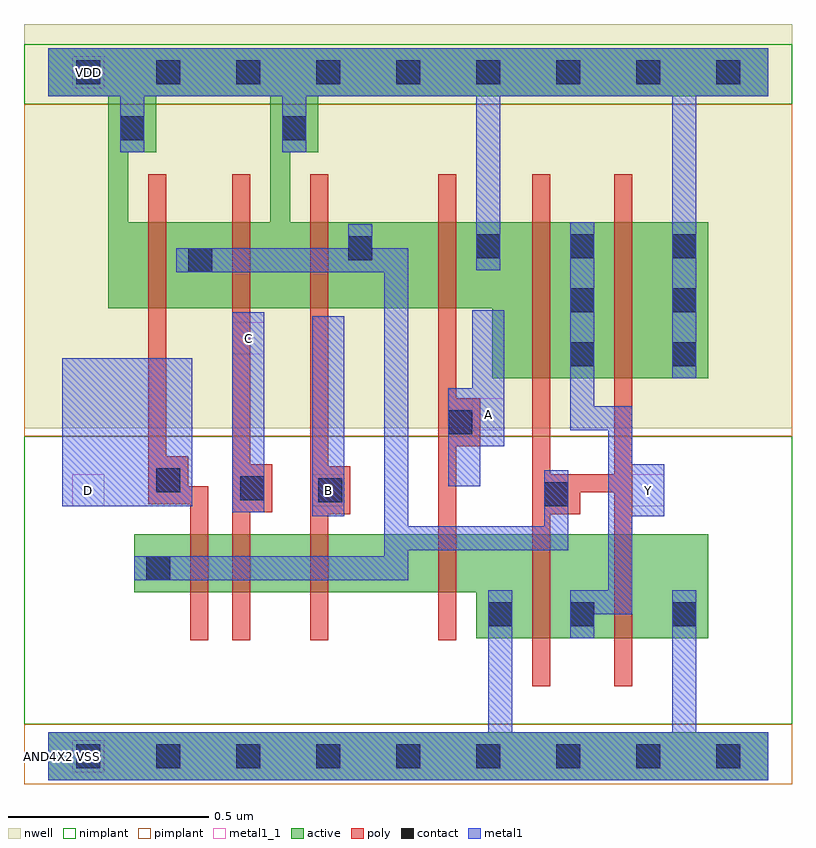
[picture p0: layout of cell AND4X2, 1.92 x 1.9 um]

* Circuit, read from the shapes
.subckt AND4X2 A B C D VDD VSS Y
M1 n1 D n2 VSS nfet w=0.145u l=0.045u
M2 n3 C n1 VSS nfet w=0.145u l=0.045u
M3 n4 B n3 VSS nfet w=0.145u l=0.045u
M4 VSS A n4 VSS nfet w=0.145u l=0.045u
M5 Y n2 VSS VSS nfet w=0.26u l=0.045u m=2
M6 n2 D VDD VDD pfet w=0.215u l=0.045u
M7 VDD C n2 VDD pfet w=0.215u l=0.045u
M8 n2 B VDD VDD pfet w=0.215u l=0.045u
M9 VDD A n2 VDD pfet w=0.215u l=0.045u
M10 Y n2 VDD VDD pfet w=0.39u l=0.045u m=2
.ends

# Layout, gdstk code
import gdstk
lib = gdstk.Library(unit=1e-6, precision=5e-10)
def R(c, l, rs):  # rectangles x0, y0, x1, y1
    for r in rs: c.add(gdstk.rectangle(r[:2], r[2:], *l))
def A(c, l, x, y, w, h, nx, ny, dx, dy):  # array of equal rectangles
    R(c, l, [(x+i*dx, y+j*dy, x+i*dx+w, y+j*dy+h) for i in range(nx) for j in range(ny)])
def P(c, l, *ps):  # polygons
    for p in ps: c.add(gdstk.Polygon(p, *l))
active = (1, 0)
nwell = (2, 0)
poly = (3, 0)
nimplant = (4, 0)
pimplant = (5, 0)
contact = (6, 0)
metal1 = (7, 0)
metal1_1 = (7, 1)

and4x2 = lib.new_cell('AND4X2')
R(and4x2, active, [(0,-0.06,1.8,0.06)])
P(and4x2, active, [(0,1.77),(1.8,1.77),(1.8,1.65),(0.675,1.65),(0.675,1.51),(0.605,1.51),(0.605,1.335),(1.65,1.335),(1.65,0.945),(1.11,0.945),(1.11,1.12),(0.15,1.12),(0.15,1.65),(0.27,1.65),(0.27,1.51),(0.2,1.51),(0.2,1.335),(0.555,1.335),(0.555,1.65),(0,1.65)],
  [(0.215,0.555),(1.65,0.555),(1.65,0.295),(1.07,0.295),(1.07,0.41),(0.215,0.41)])
R(and4x2, nwell, [(-0.06,0.82,1.86,1.83)])
P(and4x2, poly, [(0.25,1.455),(0.295,1.455),(0.295,0.75),(0.35,0.75),(0.35,0.675),(0.4,0.675),(0.4,0.29),(0.355,0.29),(0.355,0.63),(0.25,0.63)],
  [(0.46,1.455),(0.505,1.455),(0.505,0.73),(0.56,0.73),(0.56,0.61),(0.505,0.61),(0.505,0.29),(0.46,0.29)],
  [(0.655,1.455),(0.7,1.455),(0.7,0.725),(0.755,0.725),(0.755,0.605),(0.7,0.605),(0.7,0.29),(0.655,0.29)],
  [(0.975,1.455),(1.02,1.455),(1.02,0.895),(1.08,0.895),(1.08,0.775),(1.02,0.775),(1.02,0.29),(0.975,0.29)],
  [(1.21,1.455),(1.255,1.455),(1.255,0.705),(1.415,0.705),(1.415,1.455),(1.46,1.455),(1.46,0.175),(1.415,0.175),(1.415,0.66),(1.33,0.66),(1.33,0.605),(1.255,0.605),(1.255,0.175),(1.21,0.175)])
R(and4x2, nimplant, [(-0.06,0.08,1.86,0.8), (-0.06,1.63,1.86,1.78)])
R(and4x2, pimplant, [(-0.06,-0.07,1.86,0.08), (-0.06,0.8,1.86,1.63)])
A(and4x2, contact, 0.07, -0.03, 0.06, 0.06, 9, 2, 0.2, 1.71)
A(and4x2, contact, 1.305, 0.975, 0.06, 0.06, 1, 3, 0, 0.135)
A(and4x2, contact, 1.56, 0.975, 0.06, 0.06, 1, 3, 0, 0.135)
R(and4x2, contact, [(1.1,0.325,1.16,0.385), (1.305,0.325,1.365,0.385), (1.56,0.325,1.62,0.385), (0.245,0.44,0.305,0.5), (1.24,0.625,1.3,0.685), (0.675,0.635,0.735,0.695), (0.48,0.64,0.54,0.7), (0.27,0.66,0.33,0.72), (1,0.805,1.06,0.865), (0.35,1.21,0.41,1.27), (0.75,1.24,0.81,1.3), (1.07,1.245,1.13,1.305), (0.18,1.54,0.24,1.6), (0.585,1.54,0.645,1.6)])
R(and4x2, metal1, [(0.66,0.6,0.74,1.1), (0.46,0.61,0.54,1.11), (0.035,0.625,0.36,0.995)])
P(and4x2, metal1, [(0,1.77),(1.8,1.77),(1.8,1.65),(1.62,1.65),(1.62,0.945),(1.56,0.945),(1.56,1.65),(1.13,1.65),(1.13,1.215),(1.07,1.215),(1.07,1.65),(0.645,1.65),(0.645,1.51),(0.585,1.51),(0.585,1.65),(0.24,1.65),(0.24,1.51),(0.18,1.51),(0.18,1.65),(0,1.65)],
  [(0.75,1.33),(0.81,1.33),(0.81,1.27),(0.9,1.27),(0.9,0.575),(1.24,0.575),(1.24,0.715),(1.3,0.715),(1.3,0.515),(0.9,0.515),(0.9,0.44),(0.215,0.44),(0.215,0.5),(0.84,0.5),(0.84,1.21),(0.32,1.21),(0.32,1.27),(0.75,1.27)],
  [(1.305,1.335),(1.365,1.335),(1.365,0.875),(1.46,0.875),(1.46,0.73),(1.54,0.73),(1.54,0.6),(1.46,0.6),(1.46,0.355),(1.365,0.355),(1.365,0.295),(1.305,0.295),(1.305,0.415),(1.4,0.415),(1.4,0.815),(1.305,0.815)],
  [(1.06,1.115),(1.14,1.115),(1.14,0.775),(1.08,0.775),(1.08,0.675),(1,0.675),(1,0.92),(1.06,0.92)],
  [(1.1,0.415),(1.16,0.415),(1.16,0.06),(1.56,0.06),(1.56,0.415),(1.62,0.415),(1.62,0.06),(1.8,0.06),(1.8,-0.06),(0,-0.06),(0,0.06),(1.1,0.06)])
R(and4x2, metal1_1, [(0.06,-0.04,0.14,0.04), (0.06,0.625,0.14,0.705), (0.66,0.625,0.74,0.705), (1.46,0.625,1.54,0.705), (1.06,0.815,1.14,0.895), (0.46,1.005,0.54,1.085), (0.06,1.67,0.14,1.75)])
and4x2.add(gdstk.Label('Y', (1.5,0.665), layer=7, texttype=1))
and4x2.add(gdstk.Label('A', (1.1,0.855), layer=7, texttype=1))
and4x2.add(gdstk.Label('B', (0.7,0.665), layer=7, texttype=1))
and4x2.add(gdstk.Label('C', (0.5,1.045), layer=7, texttype=1))
and4x2.add(gdstk.Label('D', (0.1,0.665), layer=7, texttype=1))
and4x2.add(gdstk.Label('VDD', (0.1,1.71), layer=7, texttype=1))
and4x2.add(gdstk.Label('VSS', (0.1,0), layer=7, texttype=1))
and4x2.add(gdstk.Label('AND4X2', (0,0), layer=63, texttype=0))

lib.write_gds('AND4X2.gds')
